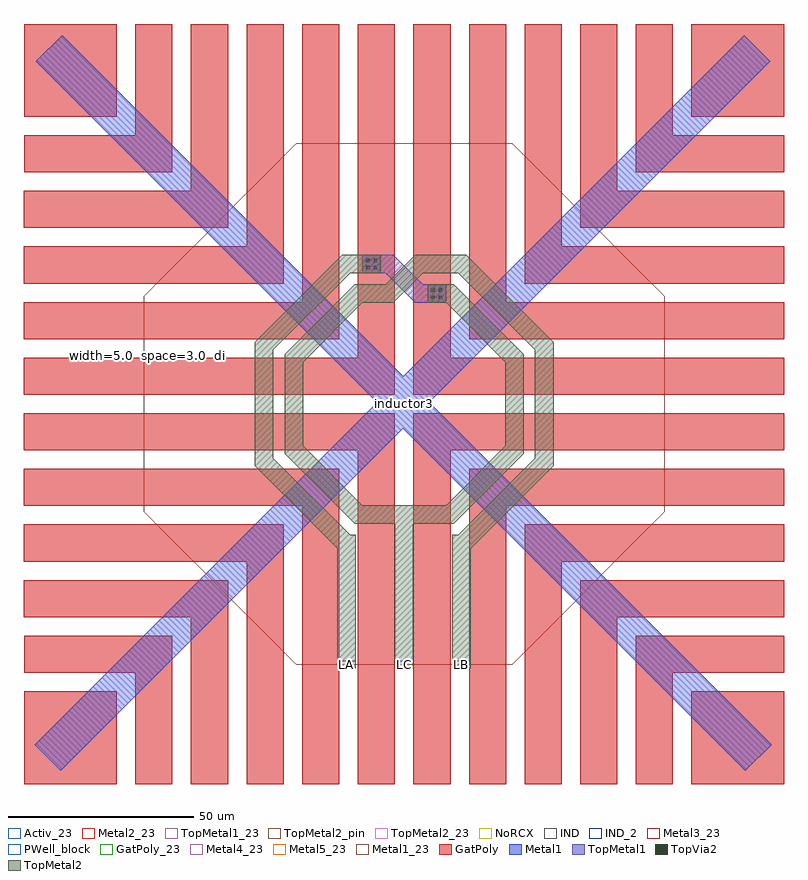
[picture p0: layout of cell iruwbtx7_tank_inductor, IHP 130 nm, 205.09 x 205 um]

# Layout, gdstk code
import gdstk
lib = gdstk.Library(unit=1e-6, precision=1e-09)
def R(c, l, rs):  # rectangles x0, y0, x1, y1
    for r in rs: c.add(gdstk.rectangle(r[:2], r[2:], *l))
def A(c, l, x, y, w, h, nx, ny, dx, dy):  # array of equal rectangles
    R(c, l, [(x+i*dx, y+j*dy, x+i*dx+w, y+j*dy+h) for i in range(nx) for j in range(ny)])
def P(c, l, *ps):  # polygons
    for p in ps: c.add(gdstk.Polygon(p, *l))
Activ_23 = (1, 23)
GatPoly = (5, 0)
GatPoly_23 = (5, 23)
Metal1 = (8, 0)
Metal1_23 = (8, 23)
Metal2_23 = (10, 23)
IND = (27, 0)
IND_2 = (27, 2)
Metal3_23 = (30, 23)
PWell_block = (46, 21)
Metal4_23 = (50, 23)
Metal5_23 = (67, 23)
TopMetal1 = (126, 0)
TopMetal1_23 = (126, 23)
TopVia2 = (133, 0)
TopMetal2 = (134, 0)
TopMetal2_pin = (134, 2)
TopMetal2_23 = (134, 23)
NoRCX = (148, 0)

iruwbtx7_tank_inductor = lib.new_cell('iruwbtx7_tank_inductor')
P(iruwbtx7_tank_inductor, Activ_23, [(73.477,32.21),(32.3,73.387),(32.3,131.618),(73.477,172.795),(131.707,172.795),(172.884,131.618),(172.884,73.387),(131.707,32.21)])
R(iruwbtx7_tank_inductor, GatPoly, [(0.09,0,25.09,25), (30.09,0,40.09,40), (45.09,0,55.09,55), (60.09,0,70.09,70), (75.09,0,85.09,85), (90.09,0,100.09,100), (105.09,0,115.09,100), (120.09,0,130.09,85), (135.09,0,145.09,70), (150.09,0,160.09,55), (165.09,0,175.09,40), (180.09,0,205.09,25), (0.09,30,40.09,40), (165.09,30,205.09,40), (0,45,55,55), (150.09,45,205.09,55), (0,60,70,70), (135.09,60,205.09,70), (0,75,85,85), (120.09,75,205.09,85), (0,90,100,100), (105.09,90,205.09,100), (0,105,100,115), (90.09,105,100.09,205), (105.09,105,115.09,205), (105.09,105,205.09,115), (0,120,85,130), (75.09,120,85.09,205), (120.09,120,130.09,205), (120.09,120,205.09,130), (0,135,70,145), (60.09,135,70.09,205), (135.09,135,145.09,205), (135.09,135,205.09,145), (0,150,55,160), (45.09,150,55.09,205), (150.09,150,160.09,205), (150.09,150,205.09,160), (0.09,165,40.09,175), (30.09,165,40.09,205), (165.09,165,175.09,205), (165.09,165,205.09,175), (0.09,180,25.09,205), (180.09,180,205.09,205)])
P(iruwbtx7_tank_inductor, GatPoly_23, [(73.477,32.21),(32.3,73.387),(32.3,131.618),(73.477,172.795),(131.707,172.795),(172.884,131.618),(172.884,73.387),(131.707,32.21)])
P(iruwbtx7_tank_inductor, Metal1_23, [(73.477,32.21),(32.3,73.387),(32.3,131.618),(73.477,172.795),(131.707,172.795),(172.884,131.618),(172.884,73.387),(131.707,32.21)])
P(iruwbtx7_tank_inductor, Metal2_23, [(73.477,32.21),(32.3,73.387),(32.3,131.618),(73.477,172.795),(131.707,172.795),(172.884,131.618),(172.884,73.387),(131.707,32.21)])
P(iruwbtx7_tank_inductor, IND, [(73.477,32.21),(32.3,73.387),(32.3,131.618),(73.477,172.795),(131.707,172.795),(172.884,131.618),(172.884,73.387),(131.707,32.21)])
A(iruwbtx7_tank_inductor, IND_2, 84.592, 31.21, 5, 2, 3, 1, 15.5, 0)
P(iruwbtx7_tank_inductor, Metal3_23, [(73.477,32.21),(32.3,73.387),(32.3,131.618),(73.477,172.795),(131.707,172.795),(172.884,131.618),(172.884,73.387),(131.707,32.21)])
P(iruwbtx7_tank_inductor, PWell_block, [(73.477,32.21),(32.3,73.387),(32.3,131.618),(73.477,172.795),(131.707,172.795),(172.884,131.618),(172.884,73.387),(131.707,32.21)])
P(iruwbtx7_tank_inductor, Metal4_23, [(73.477,32.21),(32.3,73.387),(32.3,131.618),(73.477,172.795),(131.707,172.795),(172.884,131.618),(172.884,73.387),(131.707,32.21)])
P(iruwbtx7_tank_inductor, Metal5_23, [(73.477,32.21),(32.3,73.387),(32.3,131.618),(73.477,172.795),(131.707,172.795),(172.884,131.618),(172.884,73.387),(131.707,32.21)])
P(iruwbtx7_tank_inductor, TopMetal1, [(105.577,129.755),(97.557,137.775),(91.297,137.775),(91.297,142.775),(99.607,142.775),(107.627,134.755),(113.887,134.755),(113.887,129.755)])
P(iruwbtx7_tank_inductor, TopMetal1_23, [(73.477,32.21),(32.3,73.387),(32.3,131.618),(73.477,172.795),(131.707,172.795),(172.884,131.618),(172.884,73.387),(131.707,32.21)])
R(iruwbtx7_tank_inductor, TopVia2, [(109.957,130.825,110.857,131.725), (111.917,130.825,112.817,131.725), (109.957,132.785,110.857,133.685), (111.917,132.785,112.817,133.685), (92.367,138.825,93.267,139.725), (94.327,138.825,95.227,139.725), (92.367,140.785,93.267,141.685), (94.327,140.785,95.227,141.685)])
R(iruwbtx7_tank_inductor, TopMetal2, [(84.592,31.21,89.592,67.21), (115.592,31.21,120.592,67.21), (96.297,70.21,108.887,75.21)])
P(iruwbtx7_tank_inductor, TopMetal2, [(117.192,62.21),(117.192,67.21),(117.202,67.21),(137.875,87.883),(137.875,117.103),(117.202,137.775),(108.887,137.775),(108.887,142.775),(119.282,142.775),(142.875,119.183),(142.875,85.803),(119.282,62.21)],
  [(85.902,62.21),(62.309,85.803),(62.309,119.183),(85.902,142.775),(96.297,142.775),(96.297,137.775),(87.982,137.775),(67.309,117.103),(67.309,87.883),(87.982,67.21),(88.012,67.21),(88.012,62.21)],
  [(108.092,70.21),(108.092,75.21),(113.887,75.21),(129.865,91.188),(129.865,113.778),(113.887,129.755),(108.887,129.755),(108.887,134.755),(115.967,134.755),(134.865,115.858),(134.865,89.108),(115.967,70.21)],
  [(89.217,70.21),(70.319,89.108),(70.319,115.858),(89.217,134.755),(96.297,134.755),(96.297,129.755),(91.297,129.755),(75.319,113.778),(75.319,91.188),(91.297,75.21),(97.092,75.21),(97.092,70.21)],
  [(96.297,129.755),(96.297,134.755),(97.557,134.755),(105.577,142.775),(108.887,142.775),(108.887,137.775),(107.657,137.775),(99.637,129.755)])
A(iruwbtx7_tank_inductor, TopMetal2_pin, 84.592, 31.21, 5, 2, 3, 1, 15.5, 0)
P(iruwbtx7_tank_inductor, TopMetal2_23, [(73.477,32.21),(32.3,73.387),(32.3,131.618),(73.477,172.795),(131.707,172.795),(172.884,131.618),(172.884,73.387),(131.707,32.21)])
P(iruwbtx7_tank_inductor, NoRCX, [(73.477,32.21),(32.3,73.387),(32.3,131.618),(73.477,172.795),(131.707,172.795),(172.884,131.618),(172.884,73.387),(131.707,32.21)])
iruwbtx7_tank_inductor.add(gdstk.FlexPath([(102.592,31.21),(102.592,70.21)], 5, ends="flush", simple_path=True, layer=134, datatype=0))  # TopMetal2
iruwbtx7_tank_inductor.add(gdstk.FlexPath([(6.806,198.486),(198.176,7.116)], 10, ends="flush", simple_path=True, layer=8, datatype=0))  # Metal1
iruwbtx7_tank_inductor.add(gdstk.FlexPath([(6.466,7.116),(197.836,198.486)], 10, ends="flush", simple_path=True, layer=8, datatype=0))  # Metal1
iruwbtx7_tank_inductor.add(gdstk.Label('LC', (102.592,32.21), layer=27, texttype=25))
iruwbtx7_tank_inductor.add(gdstk.Label('LB', (118.092,32.21), layer=27, texttype=25))
iruwbtx7_tank_inductor.add(gdstk.Label('LA', (87.092,32.21), layer=27, texttype=25))
iruwbtx7_tank_inductor.add(gdstk.Label('inductor3', (102.592,102.751), layer=63, texttype=0))
iruwbtx7_tank_inductor.add(gdstk.Label('  width=5.0\n  space=3.0\n  diameter=54.54\n  turns=2', (32.3,115.518), layer=63, texttype=0))

lib.write_gds('iruwbtx7_tank_inductor.gds')
